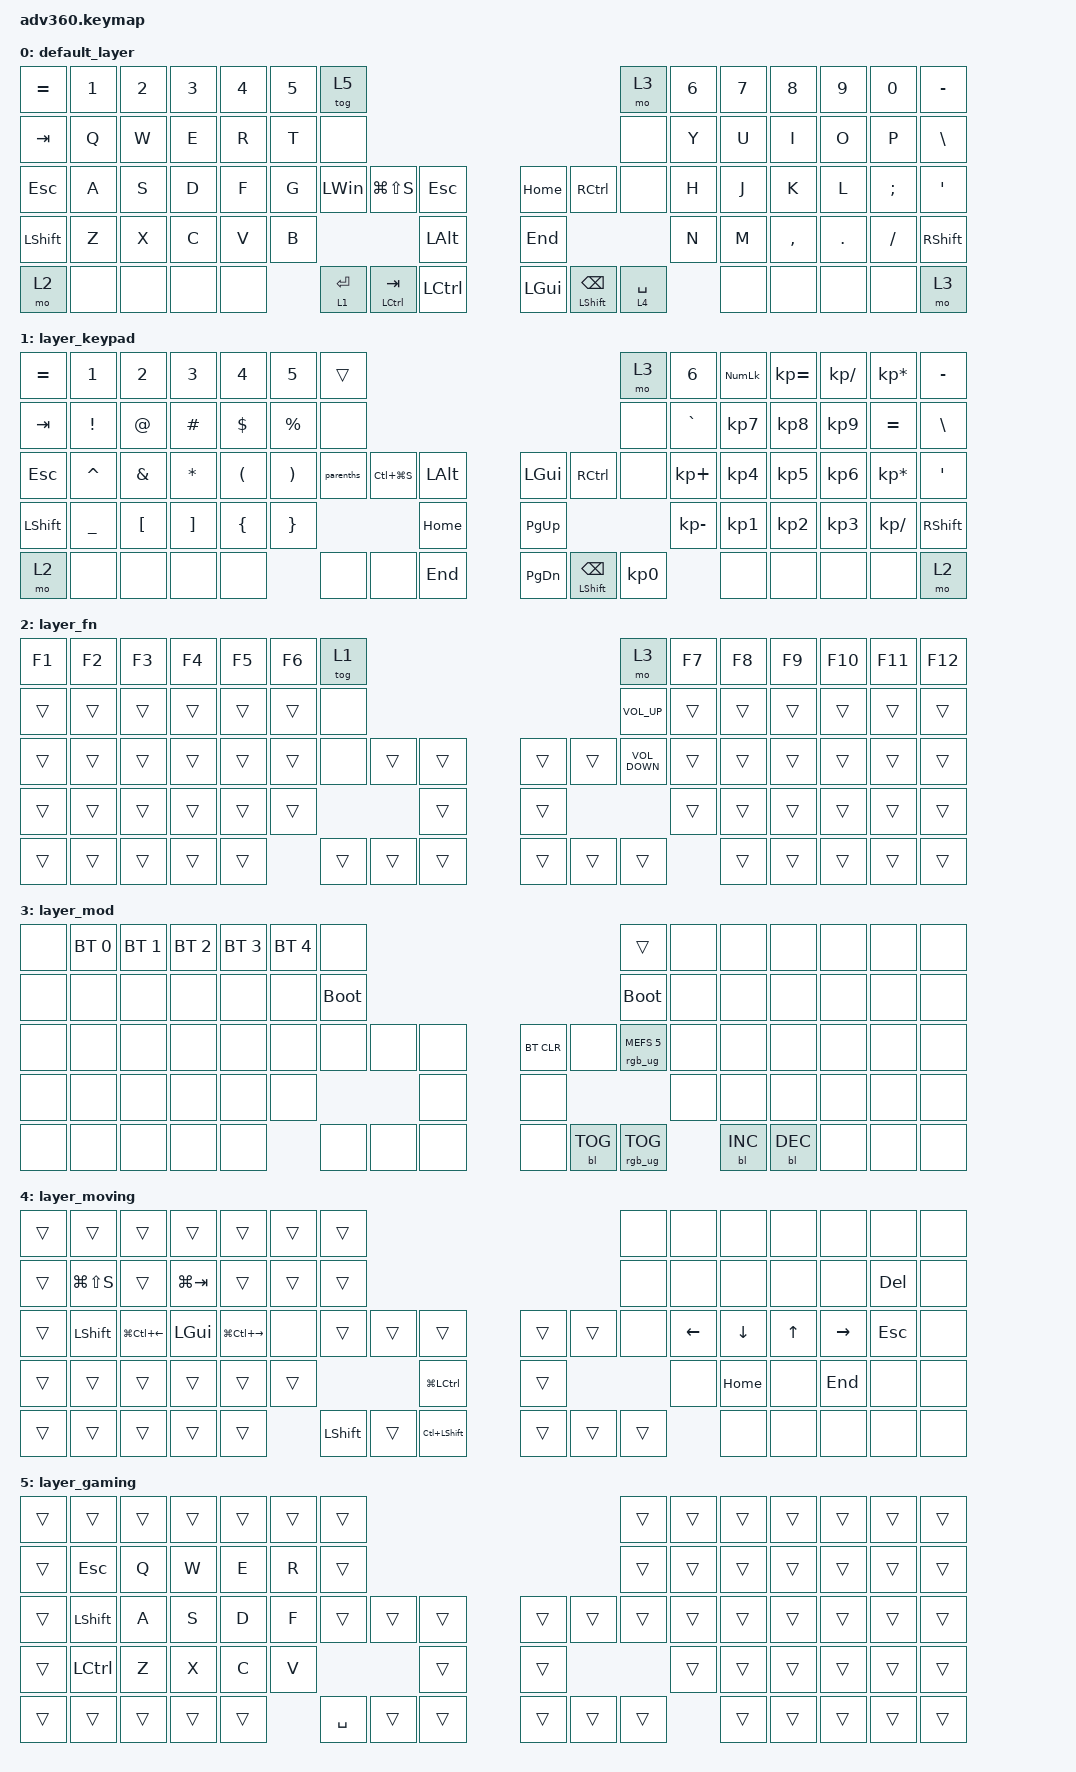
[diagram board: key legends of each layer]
/*
 * Copyright (c) 2020 The ZMK Contributors
 *
 * SPDX-License-Identifier: MIT
 */
/* THIS FILE WAS GENERATED!
 *
 * This file was generated automatically. You may or may not want to
 * edit it directly.
 */

#include <behaviors.dtsi>
#include <dt-bindings/zmk/backlight.h>
#include <dt-bindings/zmk/bt.h>
#include <dt-bindings/zmk/keys.h>
#include <dt-bindings/zmk/rgb.h>

/ {
    behaviors {
        #include "macros.dtsi"
    #include "version.dtsi"

        hm: homerow_mods {
            compatible = "zmk,behavior-hold-tap";
            label = "HOMEROW_MODS";
            #binding-cells = <2>;
            tapping-term-ms = <200>;
            quick_tap_ms = <175>;
            flavor = "tap-preferred";
            bindings = <&kp>, <&kp>;
        };

        backspace: backspace {
            compatible = "zmk,behavior-tap-dance";
            label = "BACKSPACE";
            #binding-cells = <0>;
            bindings = <&mt LEFT_SHIFT BACKSPACE>, <&kp BACKSPACE>;

            tapping-term-ms = <200>;
        };
    };

    macros {
        parenths: test {
            compatible = "zmk,behavior-macro";
            #binding-cells = <0>;
            bindings = <&kp LPAR &kp SQT &kp SQT &kp RPAR &kp LEFT_ARROW &kp LEFT_ARROW>;
            label = "TEST";
        };
    };

    keymap {
        compatible = "zmk,keymap";

        default_layer {
            bindings = <
&kp EQUAL  &kp N1  &kp N2  &kp N3  &kp N4  &kp N5  &tog 5                                                                                        &mo 3        &kp N6  &kp N7  &kp N8     &kp N9   &kp N0    &kp MINUS
&kp TAB    &kp Q   &kp W   &kp E   &kp R   &kp T   &none                                                                                         &none        &kp Y   &kp U   &kp I      &kp O    &kp P     &kp BSLH
&kp ESC    &kp A   &kp S   &kp D   &kp F   &kp G   &kp LEFT_WIN  &kp LG(LS(S))         &kp ESCAPE            &kp HOME  &kp RCTRL                 &none        &kp H   &kp J   &kp K      &kp L    &kp SEMI  &kp SQT
&kp LSHFT  &kp Z   &kp X   &kp C   &kp V   &kp B                                       &kp LEFT_ALT          &kp END                                          &kp N   &kp M   &kp COMMA  &kp DOT  &kp FSLH  &kp RSHFT
&mo 2      &none   &none   &none   &none           &lt 1 ENTER   &mt LEFT_CONTROL TAB  &kp LEFT_CONTROL      &kp LGUI  &mt LEFT_SHIFT BACKSPACE  &lt 4 SPACE          &none   &none      &none    &none     &mo 3
            >;
        };

        layer_keypad {
            bindings = <
&kp EQUAL  &kp N1           &kp N2            &kp N3             &kp N4                &kp N5                 &trans                                                                       &mo 3      &kp N6        &kp KP_NUM  &kp KP_EQUAL  &kp KP_DIVIDE  &kp KP_MULTIPLY  &kp MINUS
&kp TAB    &kp EXCLAMATION  &kp AT_SIGN       &kp HASH           &kp DOLLAR            &kp PERCENT            &none                                                                        &none      &kp GRAVE     &kp KP_N7   &kp KP_N8     &kp KP_N9      &kp EQUAL        &kp BSLH
&kp ESC    &kp CARET        &kp AMPERSAND     &kp STAR           &kp LEFT_PARENTHESIS  &kp RIGHT_PARENTHESIS  &parenths  &kp LC(LG(S))  &kp LALT      &kp LGUI   &kp RCTRL                 &none      &kp KP_PLUS   &kp KP_N4   &kp KP_N5     &kp KP_N6      &kp KP_MULTIPLY  &kp SQT
&kp LSHFT  &kp UNDERSCORE   &kp LEFT_BRACKET  &kp RIGHT_BRACKET  &kp LEFT_BRACE        &kp RIGHT_BRACE                                  &kp HOME      &kp PG_UP                                       &kp KP_MINUS  &kp KP_N1   &kp KP_N2     &kp KP_N3      &kp KP_DIVIDE    &kp RSHFT
&mo 2      &none            &none             &none              &none                                        &none      &none          &kp END       &kp PG_DN  &mt LEFT_SHIFT BACKSPACE  &kp KP_N0                &none       &none         &none          &none            &mo 2
            >;
        };

        layer_fn {
            bindings = <
&kp F1  &kp F2  &kp F3  &kp F4  &kp F5  &kp F6  &tog 1                                      &mo 3              &kp F7  &kp F8  &kp F9  &kp F10  &kp F11  &kp F12
&trans  &trans  &trans  &trans  &trans  &trans  &none                                       &kp C_VOL_UP       &trans  &trans  &trans  &trans   &trans   &trans
&trans  &trans  &trans  &trans  &trans  &trans  &none   &trans  &trans      &trans  &trans  &kp C_VOLUME_DOWN  &trans  &trans  &trans  &trans   &trans   &trans
&trans  &trans  &trans  &trans  &trans  &trans                  &trans      &trans                             &trans  &trans  &trans  &trans   &trans   &trans
&trans  &trans  &trans  &trans  &trans          &trans  &trans  &trans      &trans  &trans  &trans                     &trans  &trans  &trans   &trans   &trans
            >;
        };

        layer_mod {
            bindings = <
&none  &bt BT_SEL 0  &bt BT_SEL 1  &bt BT_SEL 2  &bt BT_SEL 3  &bt BT_SEL 4  &none                                                  &trans                  &none  &none       &none       &none  &none  &none
&none  &none         &none         &none         &none         &none         &bootloader                                            &bootloader             &none  &none       &none       &none  &none  &none
&none  &none         &none         &none         &none         &none         &none        &none  &none      &bt BT_CLR  &none       &rgb_ug RGB_MEFS_CMD 5  &none  &none       &none       &none  &none  &none
&none  &none         &none         &none         &none         &none                             &none      &none                                           &none  &none       &none       &none  &none  &none
&none  &none         &none         &none         &none                       &none        &none  &none      &none       &bl BL_TOG  &rgb_ug RGB_TOG                &bl BL_INC  &bl BL_DEC  &none  &none  &none
            >;
        };

        layer_moving {
            bindings = <
&trans  &trans          &trans                  &trans        &trans             &trans  &trans                                                            &none   &none           &none           &none         &none      &none       &none
&trans  &kp LG(LS(S))   &trans                  &kp LG(TAB)   &trans             &trans  &trans                                                            &none   &none           &none           &none         &none      &kp DELETE  &none
&trans  &kp LEFT_SHIFT  &kp LG(LC(LEFT_ARROW))  &kp LEFT_GUI  &kp LG(LC(RIGHT))  &none   &trans          &trans  &trans                    &trans  &trans  &none   &kp LEFT_ARROW  &kp DOWN_ARROW  &kp UP_ARROW  &kp RIGHT  &kp ESCAPE  &none
&trans  &trans          &trans                  &trans        &trans             &trans                          &kp LG(LEFT_CONTROL)      &trans                  &none           &kp HOME        &none         &kp END    &none       &none
&trans  &trans          &trans                  &trans        &trans                     &kp LEFT_SHIFT  &trans  &kp LC(LEFT_SHIFT)        &trans  &trans  &trans                  &none           &none         &none      &none       &none
            >;
        };

        layer_gaming {
            bindings = <
&trans  &trans          &trans  &trans  &trans  &trans  &trans                                         &trans  &trans  &trans  &trans  &trans  &trans  &trans
&trans  &kp ESCAPE      &kp Q   &kp W   &kp E   &kp R   &trans                                         &trans  &trans  &trans  &trans  &trans  &trans  &trans
&trans  &kp LEFT_SHIFT  &kp A   &kp S   &kp D   &kp F   &trans     &trans  &trans      &trans  &trans  &trans  &trans  &trans  &trans  &trans  &trans  &trans
&trans  &kp LCTRL       &kp Z   &kp X   &kp C   &kp V                      &trans      &trans                  &trans  &trans  &trans  &trans  &trans  &trans
&trans  &trans          &trans  &trans  &trans          &kp SPACE  &trans  &trans      &trans  &trans  &trans          &trans  &trans  &trans  &trans  &trans
            >;
        };
    };
};
